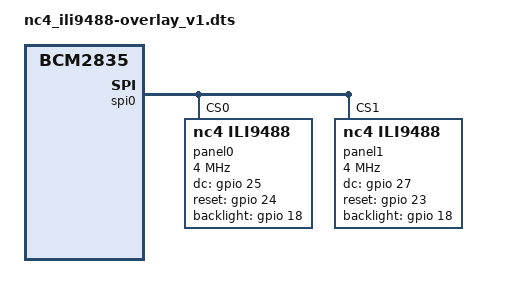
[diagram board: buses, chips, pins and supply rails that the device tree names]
// nc4_ili9488-overlay.dts
/dts-v1/;
/plugin/;

/ {
    compatible = "brcm,bcm2835";

    fragment@0 {
        target = <&spi0>;
        __overlay__ {
            status = "okay";
            #address-cells = <1>;
            #size-cells = <0>;

            panel0: panel0@0 {
                compatible = "nc4,ili9488";
                reg = <0>; /* chip select LCD_0 */
                dc-gpios = <&gpio 25 0>;
                reset-gpios = <&gpio 24 0>;
                backlight-gpios = <&gpio 18 0>;
                spi-max-frequency = <4000000>;
            };

            panel1: panel1@1 {
                compatible = "nc4,ili9488";
                reg = <1>; /* chip select LCD_1 */
                dc-gpios = <&gpio 27 0>;
                reset-gpios = <&gpio 23 0>;
                backlight-gpios = <&gpio 18 0>;
                spi-max-frequency = <4000000>;
            };
        };
    };

    fragment@1 {
        target = <&spidev0>;
        __overlay__ {
            status = "disabled";
        };
    };

};
